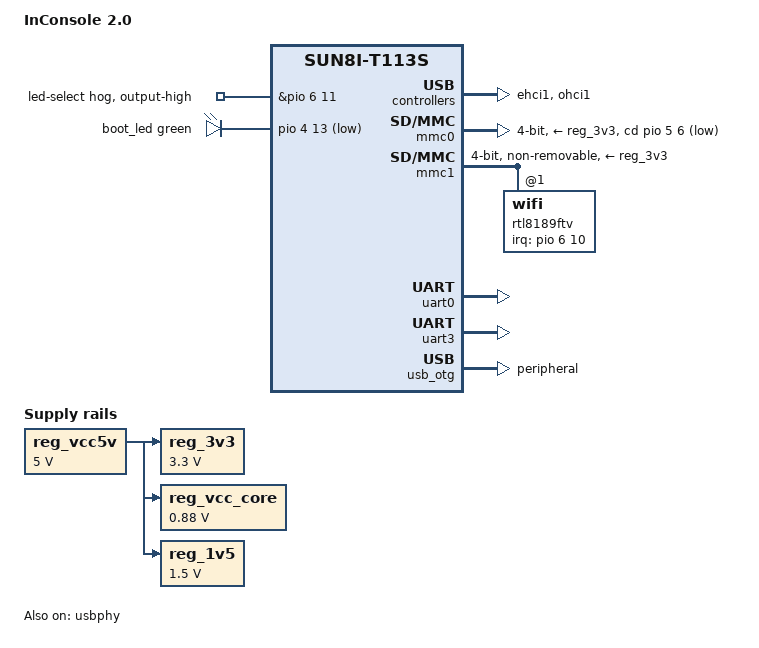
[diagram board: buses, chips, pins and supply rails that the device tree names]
// SPDX-License-Identifier: (GPL-2.0+ or MIT)
// Copyright (C) 2022 Arm Ltd.
/*
 * Common peripherals and configurations for InConsole 2.0.
 */

#include <dt-bindings/interrupt-controller/irq.h>
#include <dt-bindings/gpio/gpio.h>
#include <dt-bindings/leds/common.h>

/dts-v1/;

#include "sun8i-t113s.dtsi"


/ {
    model = "InConsole 2.0";
    compatible = "ingraw,inconsole2", "allwinner,sun8i-t113s";

	aliases {
		serial0 = &uart3;
	};

	chosen {
		stdout-path = "serial0:115200n8";
	};

    &pio {
        boot_led_select {
            gpio-hog;
            gpios = <6 11 GPIO_ACTIVE_HIGH>; /* PG11 */
            output-high;
            line-name = "led-select";
        };
    };

	leds {
		compatible = "gpio-leds";

		boot_led: led-boot {
			color = <LED_COLOR_ID_GREEN>;
			function = LED_FUNCTION_STATUS;
			gpios = <&pio 4 13 GPIO_ACTIVE_LOW>; /* PE13 */
		};
	};

	/* board wide 5V supply directly from the USB-C socket */
	reg_vcc5v: regulator-5v {
		compatible = "regulator-fixed";
		regulator-name = "vcc-5v";
		regulator-min-microvolt = <5000000>;
		regulator-max-microvolt = <5000000>;
		regulator-always-on;
	};

	/* SY8008 DC/DC regulator on the board */
	reg_3v3: regulator-3v3 {
		compatible = "regulator-fixed";
		regulator-name = "vcc-3v3";
		regulator-min-microvolt = <3300000>;
		regulator-max-microvolt = <3300000>;
		vin-supply = <&reg_vcc5v>;
	};

	/* SY8008 DC/DC regulator on the board, also supplying VDD-SYS */
	reg_vcc_core: regulator-core {
		compatible = "regulator-fixed";
		regulator-name = "vcc-core";
		regulator-min-microvolt = <880000>;
		regulator-max-microvolt = <880000>;
		vin-supply = <&reg_vcc5v>;
	};

	/* SY8008 DC/DC regulator on the board, also supplying VDD-RAM */
	reg_1v5: regulator-1v5 {
		compatible = "regulator-fixed";
		regulator-name = "vcc-1v5";
		regulator-min-microvolt = <1500000>;
		regulator-max-microvolt = <1500000>;
		vin-supply = <&reg_vcc5v>;
	};
};

&cpu0 {
	cpu-supply = <&reg_vcc_core>;
};

&cpu1 {
	cpu-supply = <&reg_vcc_core>;
};

&dcxo {
	clock-frequency = <24000000>;
};

&ehci1 {
	status = "okay";
};

&mmc0 {
	pinctrl-0 = <&mmc0_pins>;
	pinctrl-names = "default";
	vmmc-supply = <&reg_3v3>;
	cd-gpios = <&pio 5 6 GPIO_ACTIVE_LOW>;
	disable-wp;
	bus-width = <4>;
	status = "okay";
};

&mmc1 {
	pinctrl-0 = <&mmc1_pins>;
	pinctrl-names = "default";
	vmmc-supply = <&reg_3v3>;
	non-removable;
	bus-width = <4>;
	mmc-pwrseq = <&wifi_pwrseq>;
	status = "okay";

	rtl8189ftv: wifi@1 {
		reg = <1>;
		interrupt-parent = <&pio>;
		interrupts = <6 10 IRQ_TYPE_LEVEL_LOW>; /* PG10 = WL_WAKE_AP */
		interrupt-names = "host-wake";
	};
};

&ohci1 {
	status = "okay";
};

&pio {
	vcc-pb-supply = <&reg_3v3>;
	vcc-pd-supply = <&reg_3v3>;
	vcc-pe-supply = <&reg_avdd2v8>;
	vcc-pf-supply = <&reg_3v3>;
	vcc-pg-supply = <&reg_3v3>;
};

&uart0 {
	pinctrl-names = "default";
	pinctrl-0 = <&uart0_pe2_pins>;
	status = "okay";
};

&uart3 {
	pinctrl-names = "default";
	pinctrl-0 = <&uart3_pb_pins>;
	status = "okay";
};

/* The USB-C socket has its CC pins pulled to GND, so is hardwired as a UFP. */
&usb_otg {
	dr_mode = "peripheral";
	status = "okay";
};

&usbphy {
	usb1_vbus-supply = <&reg_vcc5v>;
	status = "okay";
};
